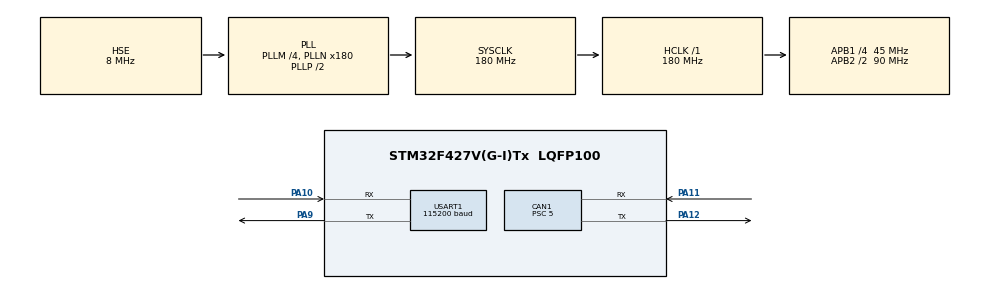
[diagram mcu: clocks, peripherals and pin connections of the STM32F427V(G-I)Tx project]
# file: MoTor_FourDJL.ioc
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CAN1.BS1=CAN_BS1_4TQ
CAN1.BS2=CAN_BS2_4TQ
CAN1.CalculateBaudRate=1000000
CAN1.CalculateTimeBit=1000
CAN1.CalculateTimeQuantum=111.11111111111111
CAN1.Prescaler=5
Mcu.Family=STM32F4
Mcu.Name=STM32F427V(G-I)Tx
Mcu.Package=LQFP100
NVIC.CAN1_RX0_IRQn=true\:1\:0\:true\:false\:true\:true\:true\:true
NVIC.PriorityGroup=NVIC_PRIORITYGROUP_4
NVIC.USART1_IRQn=true\:0\:0\:false\:false\:true\:true\:true\:true
PA10.Mode=Asynchronous
PA10.Signal=USART1_RX
PA11.Mode=CAN_Activate
PA11.Signal=CAN1_RX
PA12.Mode=CAN_Activate
PA12.Signal=CAN1_TX
PA13.Mode=Serial_Wire
PA13.Signal=SYS_JTMS-SWDIO
PA14.Mode=Serial_Wire
PA14.Signal=SYS_JTCK-SWCLK
PA9.Mode=Asynchronous
PA9.Signal=USART1_TX
PH0/OSC_IN.Mode=HSE-External-Oscillator
PH0/OSC_IN.Signal=RCC_OSC_IN
PH1/OSC_OUT.Mode=HSE-External-Oscillator
PH1/OSC_OUT.Signal=RCC_OSC_OUT
ProjectManager.HeapSize=0x200
ProjectManager.StackSize=0x400
ProjectManager.TargetToolchain=MDK-ARM V5.32
RCC.48MHZClocksFreq_Value=90000000
RCC.AHBFreq_Value=180000000
RCC.APB1CLKDivider=RCC_HCLK_DIV4
RCC.APB1Freq_Value=45000000
RCC.APB1TimFreq_Value=90000000
RCC.APB2CLKDivider=RCC_HCLK_DIV2
RCC.APB2Freq_Value=90000000
RCC.APB2TimFreq_Value=180000000
RCC.CortexFreq_Value=180000000
RCC.HCLKFreq_Value=180000000
RCC.HSE_VALUE=8000000
RCC.HSI_VALUE=16000000
RCC.LSE_VALUE=32768
RCC.PLLM=4
RCC.PLLN=180
RCC.PLLSourceVirtual=RCC_PLLSOURCE_HSE
RCC.SYSCLKFreq_VALUE=180000000
RCC.SYSCLKSource=RCC_SYSCLKSOURCE_PLLCLK
RCC.VCOOutputFreq_Value=360000000
USART1.BaudRate=115200
USART1.VirtualMode=VM_ASYNC
board=custom

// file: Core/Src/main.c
/* USER CODE BEGIN Header */
/**
  ******************************************************************************
  * @file           : main.c
  * @brief          : Main program body
  ******************************************************************************
  * @attention
  *
  * Copyright (c) 2024 STMicroelectronics.
  * All rights reserved.
  *
  * This software is licensed under terms that can be found in the LICENSE file
  * in the root directory of this software component.
  * If no LICENSE file comes with this software, it is provided AS-IS.
  *
  ******************************************************************************
  */
/* USER CODE END Header */
#include "main.h"
#include "can.h"
#include "usart.h"
#include "gpio.h"

/* USER CODE BEGIN Includes */
#include "DJ_bsp.h"
#include "pid.h"
#include "Vofa.h"
/* USER CODE END Includes */

void SystemClock_Config(void);

/* USER CODE BEGIN 0 */
uint8_t DATA_R[8]={0};

struct PID_Speed_HandleTypeDef PID_Speed[4] = {{0,0,0,0,0,0,0,0,0}};
struct PID_Angle_HandleTypeDef PID_Angle[4] = {{0,0,0,0,0,0,0,0}};
struct PID_Angle_and_Speed_HandleTypeDef PID_Angle_and_Speed[4]={{0,0,0,0,0,0,0}};
/* USER CODE END 0 */

int main(void)
{

  /* MCU Configuration--------------------------------------------------------*/

  /* Reset of all peripherals, Initializes the Flash interface and the Systick. */
  HAL_Init();

  /* Configure the system clock */
  SystemClock_Config();

  /* Initialize all configured peripherals */
  MX_GPIO_Init();
  MX_CAN1_Init();
  MX_USART1_UART_Init();

  /* Infinite loop */
  /* USER CODE BEGIN WHILE */
  while (1)
  {
//		Vofa_Transmit_8(1,2,3,4,5,6,7,8);
//		HAL_Delay(1);
    /* USER CODE END WHILE */

  }
}

void SystemClock_Config(void)
{
  RCC_OscInitTypeDef RCC_OscInitStruct = {0};
  RCC_ClkInitTypeDef RCC_ClkInitStruct = {0};

  /** Configure the main internal regulator output voltage
  */
  __HAL_RCC_PWR_CLK_ENABLE();
  __HAL_PWR_VOLTAGESCALING_CONFIG(PWR_REGULATOR_VOLTAGE_SCALE1);

  /** Initializes the RCC Oscillators according to the specified parameters
  * in the RCC_OscInitTypeDef structure.
  */
  RCC_OscInitStruct.OscillatorType = RCC_OSCILLATORTYPE_HSE;
  RCC_OscInitStruct.HSEState = RCC_HSE_ON;
  RCC_OscInitStruct.PLL.PLLState = RCC_PLL_ON;
  RCC_OscInitStruct.PLL.PLLSource = RCC_PLLSOURCE_HSE;
  RCC_OscInitStruct.PLL.PLLM = 4;
  RCC_OscInitStruct.PLL.PLLN = 180;
  RCC_OscInitStruct.PLL.PLLP = RCC_PLLP_DIV2;
  RCC_OscInitStruct.PLL.PLLQ = 4;
  if (HAL_RCC_OscConfig(&RCC_OscInitStruct) != HAL_OK)
  {
    Error_Handler();
  }

  /** Activate the Over-Drive mode
  */
  if (HAL_PWREx_EnableOverDrive() != HAL_OK)
  {
    Error_Handler();
  }

  /** Initializes the CPU, AHB and APB buses clocks
  */
  RCC_ClkInitStruct.ClockType = RCC_CLOCKTYPE_HCLK|RCC_CLOCKTYPE_SYSCLK
                              |RCC_CLOCKTYPE_PCLK1|RCC_CLOCKTYPE_PCLK2;
  RCC_ClkInitStruct.SYSCLKSource = RCC_SYSCLKSOURCE_PLLCLK;
  RCC_ClkInitStruct.AHBCLKDivider = RCC_SYSCLK_DIV1;
  RCC_ClkInitStruct.APB1CLKDivider = RCC_HCLK_DIV4;
  RCC_ClkInitStruct.APB2CLKDivider = RCC_HCLK_DIV2;

  if (HAL_RCC_ClockConfig(&RCC_ClkInitStruct, FLASH_LATENCY_5) != HAL_OK)
  {
    Error_Handler();
  }
}

/* USER CODE BEGIN 4 */
void HAL_CAN_RxFifo0MsgPendingCallback(CAN_HandleTypeDef *hcan)
{
	if(hcan == &hcan1)
	{
/**********************************************************************************************************************/
//		The motor rotates at different angles

		static uint16_t Currents[4];
		int16_t Current;

		static float Angles[4] = {0};
		static float Angle_last[4] = {0};
		static uint8_t a[4] = {1,1,1,1};
		CAN_RxHeaderTypeDef hCAN_RxHeader;

		if(HAL_CAN_GetRxMessage(hcan,CAN_RX_FIFO0,&hCAN_RxHeader, DATA_R)==HAL_OK)
		{
		}

		if(a[hCAN_RxHeader.StdId - 0x201])
		{
			Angle_last[hCAN_RxHeader.StdId - 0x201] = DJ_Angle;
			a[hCAN_RxHeader.StdId - 0x201] = 0;
		}

		Angles[hCAN_RxHeader.StdId - 0x201] += ((DJ_Angle - Angle_last[hCAN_RxHeader.StdId - 0x201])/36);

		if(DJ_Speed > 4000)
		{
			if(((DJ_Angle - Angle_last[hCAN_RxHeader.StdId - 0x201]) < 0)&&(DJ_Speed > 0)) Angles[hCAN_RxHeader.StdId - 0x201] +=(360/36);
			else if(((DJ_Angle - Angle_last[hCAN_RxHeader.StdId - 0x201]) > 0)&&(DJ_Speed < 0)) Angles[hCAN_RxHeader.StdId - 0x201] -=(360/36);
		}
		else
		{
			if((DJ_Angle - Angle_last[hCAN_RxHeader.StdId - 0x201]) < -180) Angles[hCAN_RxHeader.StdId - 0x201] +=(360/36);
			else if((DJ_Angle - Angle_last[hCAN_RxHeader.StdId - 0x201]) > 180) Angles[hCAN_RxHeader.StdId - 0x201] -=(360/36);
		}
		Angle_last[hCAN_RxHeader.StdId - 0x201] = DJ_Angle;
		switch(hCAN_RxHeader.StdId - 0x201)
		{
			case 0:
				pid_Angle(0,PID_Angle,PID_Speed,1800, Angles[0], DJ_Speed,0.1,0.001,0.03,6,0,10);
						Current = PID_Angle[0].Current_set;break;
			case 2:
				pid_Angle(2,PID_Angle,PID_Speed,360, Angles[2], DJ_Speed,0.1,0.001,0.03,6,0,10);
						Current = PID_Angle[2].Current_set;break;
		}
		Currents[hCAN_RxHeader.StdId - 0x201] = (uint16_t)Current;
		Motor_Set_Current(Currents);

//		static uint8_t num = 0;
//		num++;
//		if(num == 4)
//		{
//			Motor_Set_Current(Currents);
//			num = 0;
//		}

		Vofa_Transmit_8(PID_Angle[0].err,Angles[0],PID_Angle[2].err,Angles[2],0,0,0,0);
/************************************************************************************************************************/
//		Motors rotate at different speeds

//		static uint16_t Currents[4];
//		int16_t Current;
//		CAN_RxHeaderTypeDef hCAN_RxHeader;
//
//
//		if(HAL_CAN_GetRxMessage(hcan,CAN_RX_FIFO0,&hCAN_RxHeader, DATA_R)==HAL_OK)
//		{
//		}
//
//		switch(hCAN_RxHeader.StdId - 0x201)
//		{
////			case 0:
////				pid_Speed(0,PID_Speed,0,DJ_Speed,DJ_Current,6,0.03,0);
////				Currents[0] = (int16_t)PID_Speed[0].Current_set;break;
//			case 2:
//				pid_Speed(2,PID_Speed,30,DJ_Speed,7,0,10);
//				Currents[2] = (uint16_t)PID_Speed[2].Current_set;break;
//		}
//		Motor_Set_Current(Currents);

//		Vofa_Transmit_8(DJ_Speed,PID_Speed[2].Current_set,0,0,0,0,0,0);
//
/***********************************************************************************************************************/

//		static uint16_t Currents[4];
//		int16_t Current;
//
//		static int16_t Angles[4] = {0};
//		static int16_t Angle_last[4] = {0};
//		static uint8_t a[4] = {1,1,1,1};
//		CAN_RxHeaderTypeDef hCAN_RxHeader;

//		if(HAL_CAN_GetRxMessage(hcan,CAN_RX_FIFO0,&hCAN_RxHeader, DATA_R)==HAL_OK)
//		{
//		}
//
//		if(a[hCAN_RxHeader.StdId - 0x201])
//		{
//			Angle_last[hCAN_RxHeader.StdId - 0x201] = DJ_Angle;
//			a[hCAN_RxHeader.StdId - 0x201] = 0;
//		}
//
//		Angles[hCAN_RxHeader.StdId - 0x201] += DJ_Angle - Angle_last[hCAN_RxHeader.StdId - 0x201];
//		if((DJ_Angle - Angle_last[hCAN_RxHeader.StdId - 0x201]) < (-180)) Angles[hCAN_RxHeader.StdId - 0x201] +=360;
//		else if((DJ_Angle - Angle_last[hCAN_RxHeader.StdId - 0x201]) > 180) Angles[hCAN_RxHeader.StdId - 0x201] -=360;
//		Angle_last[hCAN_RxHeader.StdId - 0x201] = DJ_Angle;
//		switch(hCAN_RxHeader.StdId - 0x201)
//		{
//			case 2:Current = pid_Angle_and_Speed(2,360,60, Angles[2], DJ_Speed,DJ_Current,9,0.01,0,Speed_pid)->Current_set;break;
//			case 0:Current = pid_Angle_and_Speed(0,360,60, Angles[0], DJ_Speed,DJ_Current,9,0.01,0,Speed_pid)->Current_set;break;
//		}
//		Currents[hCAN_RxHeader.StdId - 0x201] = (uint16_t)Current;
//		Motor_Set_Current(Currents);
//
//		float buff = Angles[2];

//		if(!(hCAN_RxHeader.StdId - 0x201))
//		{
//			uint8_t tail[4] = {0x00, 0x00, 0x80, 0x7f};
//			HAL_UART_Transmit(&huart1,(uint8_t*)&buff,4,0xff);
////			HAL_UART_Transmit(&huart1,(uint8_t*)&PID_Speed[2]->pout,4,0xff);
////			HAL_UART_Transmit(&huart1,(uint8_t*)&PID_Speed[2]->iout,4,0xff);
////			HAL_UART_Transmit(&huart1,(uint8_t*)&PID_Speed[2]->dout,4,0xff);
//			HAL_UART_Transmit(&huart1,tail,4,0xff);
//		}

	}
}

/* USER CODE END 4 */

void Error_Handler(void)
{
  __disable_irq();
  while (1)
  {
  }
}
